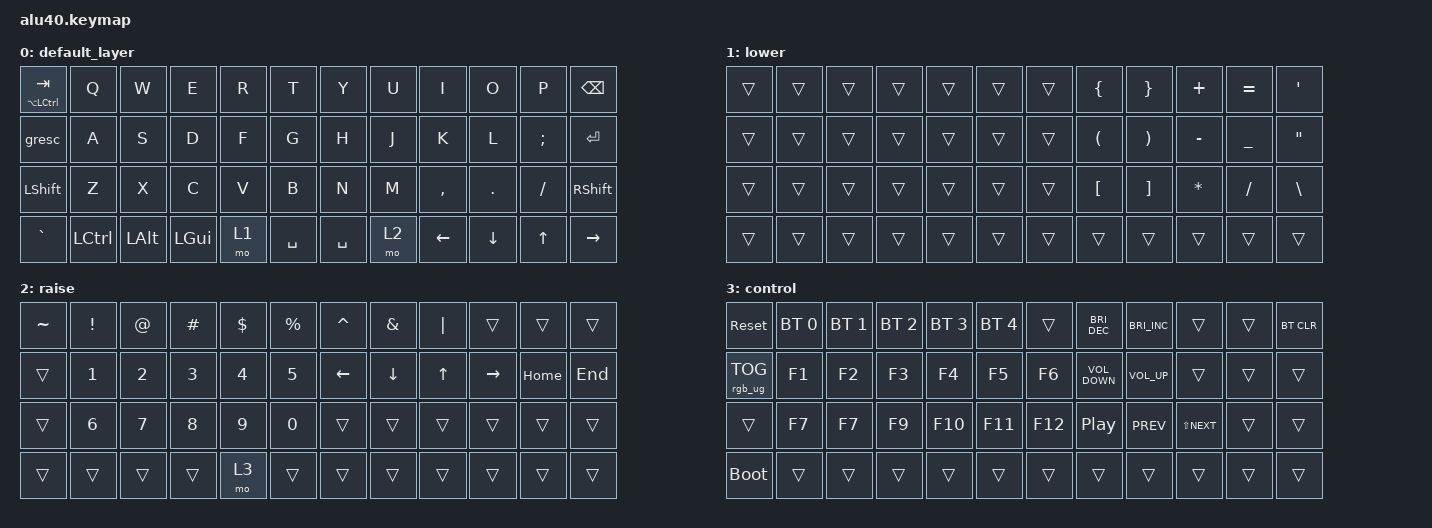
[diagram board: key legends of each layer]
/*
 * Copyright (c) 2022 The ZMK Contributors
 *
 * SPDX-License-Identifier: MIT
 */

#include <behaviors.dtsi>
#include <dt-bindings/zmk/bt.h>
#include <dt-bindings/zmk/keys.h>
#include <dt-bindings/zmk/rgb.h>

/ {
    behaviors {
        tap_modifier: tap_modifier {
            compatible = "zmk,behavior-hold-tap";
            label = "TAP_MODIFIER";
            bindings =
                <&kp>,
                <&mt>;

            #binding-cells = <2>;
            tapping-term-ms = <175>;
        };
    };

    keymap {
        compatible = "zmk,keymap";

        default_layer {
            // -----------------------------------------------------------------------------------------
            // | ESC/~ |  Q   |  W   |  E   |  R   |  T   |   Y   |  U    |  I   |  O   |   P   | BSPC  |
            // | TAB   |  A   |  S   |  D   |  F   |  G   |   H   |  J    |  K   |  L   |   ;   |  '    |
            // | SHIFT |  Z   |  X   |  C   |  V   |  B   |   N   |  M    |  ,   |  .   |   /   |RET/SFT|
            // | PLAY  | LCTL | LALT | LGUI | LOWR |     SPACE    |  RAIS | LARW | UARW | DARW  |  RARW |

            bindings = <
&mt LA(LCTRL) TAB      &kp Q     &kp W     &kp E  &kp R      &kp T      &kp Y  &kp U      &kp I           &kp O         &kp P         &kp BSPC
           &gresc      &kp A     &kp S     &kp D  &kp F      &kp G      &kp H  &kp J      &kp K           &kp L      &kp SEMI       &kp RETURN
        &kp LSHFT      &kp Z     &kp X     &kp C  &kp V      &kp B      &kp N  &kp M  &kp COMMA         &kp DOT      &kp FSLH  &kp RIGHT_SHIFT
        &kp GRAVE  &kp LCTRL  &kp LALT  &kp LGUI  &mo 1  &kp SPACE  &kp SPACE  &mo 2   &kp LEFT  &kp DOWN_ARROW  &kp UP_ARROW        &kp RIGHT
            >;
        };

        lower {
            bindings = <
&trans  &trans  &trans  &trans  &trans  &trans  &trans        &kp LEFT_BRACE        &kp RIGHT_BRACE      &kp PLUS       &kp EQUAL            &kp SQT
&trans  &trans  &trans  &trans  &trans  &trans  &trans  &kp LEFT_PARENTHESIS  &kp RIGHT_PARENTHESIS     &kp MINUS  &kp UNDERSCORE  &kp DOUBLE_QUOTES
&trans  &trans  &trans  &trans  &trans  &trans  &trans      &kp LEFT_BRACKET      &kp RIGHT_BRACKET  &kp ASTERISK        &kp FSLH      &kp BACKSLASH
&trans  &trans  &trans  &trans  &trans  &trans  &trans                &trans                 &trans        &trans          &trans             &trans
            >;
        };

        raise {
            bindings = <
&kp TILDE  &kp EXCLAMATION   &kp AT_SIGN      &kp HASH  &kp DOLLAR   &kp PERCENT  &kp CARET  &kp AMPERSAND  &kp PIPE     &trans    &trans   &trans
   &trans     &kp NUMBER_1  &kp NUMBER_2  &kp NUMBER_3      &kp N4        &kp N5   &kp LEFT       &kp DOWN    &kp UP  &kp RIGHT  &kp HOME  &kp END
   &trans     &kp NUMBER_6  &kp NUMBER_7        &kp N8      &kp N9  &kp NUMBER_0     &trans         &trans    &trans     &trans    &trans   &trans
   &trans           &trans        &trans        &trans       &mo 3        &trans     &trans         &trans    &trans     &trans    &trans   &trans
            >;
        };

        control {
            bindings = <
     &sys_reset  &bt BT_SEL 0  &bt BT_SEL 1  &bt BT_SEL 2  &bt BT_SEL 3  &bt BT_SEL 4   &trans  &kp C_BRIGHTNESS_DEC  &kp C_BRIGHTNESS_INC          &trans  &trans  &bt BT_CLR
&rgb_ug RGB_TOG        &kp F1        &kp F2        &kp F3        &kp F4        &kp F5   &kp F6     &kp C_VOLUME_DOWN       &kp C_VOLUME_UP          &trans  &trans      &trans
         &trans        &kp F7        &kp F7        &kp F9       &kp F10       &kp F11  &kp F12      &kp C_PLAY_PAUSE            &kp C_PREV  &kp LS(C_NEXT)  &trans      &trans
    &bootloader        &trans        &trans        &trans        &trans        &trans   &trans                &trans                &trans          &trans  &trans      &trans
            >;
        };
    };
};
